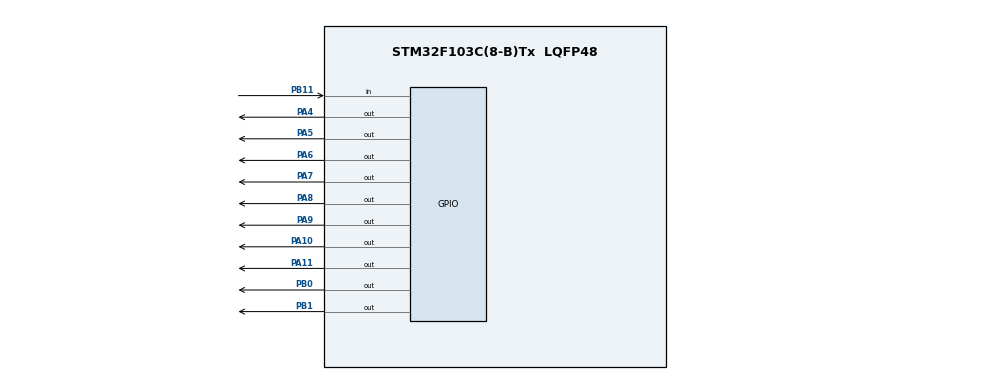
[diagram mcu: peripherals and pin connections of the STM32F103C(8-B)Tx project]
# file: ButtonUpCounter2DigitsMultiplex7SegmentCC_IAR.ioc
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Mcu.Family=STM32F1
Mcu.Name=STM32F103C(8-B)Tx
Mcu.Package=LQFP48
NVIC.PriorityGroup=NVIC_PRIORITYGROUP_4
PA10.Signal=GPIO_Output
PA11.Signal=GPIO_Output
PA13.Mode=Serial_Wire
PA13.Signal=SYS_JTMS-SWDIO
PA14.Mode=Serial_Wire
PA14.Signal=SYS_JTCK-SWCLK
PA4.Signal=GPIO_Output
PA5.Signal=GPIO_Output
PA6.Signal=GPIO_Output
PA7.Signal=GPIO_Output
PA8.Signal=GPIO_Output
PA9.Signal=GPIO_Output
PB0.Signal=GPIO_Output
PB1.Signal=GPIO_Output
PB11.GPIO_PuPd=GPIO_PULLUP
PB11.Signal=GPIO_Input
PD0-OSC_IN.Mode=HSE-External-Oscillator
PD0-OSC_IN.Signal=RCC_OSC_IN
PD1-OSC_OUT.Mode=HSE-External-Oscillator
PD1-OSC_OUT.Signal=RCC_OSC_OUT
ProjectManager.HeapSize=0x200
ProjectManager.StackSize=0x400
ProjectManager.TargetToolchain=EWARM V8.32
RCC.APB1Freq_Value=8000000
RCC.APB2Freq_Value=8000000
RCC.SYSCLKSource=RCC_SYSCLKSOURCE_HSE
board=custom

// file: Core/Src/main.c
/* USER CODE BEGIN Header */
/**
  ******************************************************************************
  * @file           : main.c
  * @brief          : Main program body
  ******************************************************************************
  * @attention
  *
  * Copyright (c) 2023 STMicroelectronics.
  * All rights reserved.
  *
  * This software is licensed under terms that can be found in the LICENSE file
  * in the root directory of this software component.
  * If no LICENSE file comes with this software, it is provided AS-IS.
  *
  ******************************************************************************
  */
/* USER CODE END Header */
#include "main.h"

/* USER CODE BEGIN PV */

unsigned char digits[2] = {0};

/* USER CODE END PV */

void SystemClock_Config(void);
static void MX_GPIO_Init(void);

/* USER CODE BEGIN 0 */

void CalcDigits(unsigned char j)
{
  unsigned char n = 0;
  for (n=0; n<2; n++)
  {
    digits[n] = j%10;
    j = j/10;
  }
}

/* USER CODE END 0 */

int main(void)
{
  /* USER CODE BEGIN 1 */

  unsigned char SevenSegmentCC[10] = {0x3F, 0x06, 0x5B, 0x4F, 0x66, 0x6D, 0x7D, 0x07, 0x7F, 0x6F};
  unsigned char i = 0;
  unsigned int delay_cnt = 0;
  unsigned char digitIdx = 0;

  /* USER CODE END 1 */

  /* MCU Configuration--------------------------------------------------------*/

  /* Reset of all peripherals, Initializes the Flash interface and the Systick. */
  HAL_Init();

  /* Configure the system clock */
  SystemClock_Config();

  /* Initialize all configured peripherals */
  MX_GPIO_Init();

  /* Infinite loop */
  /* USER CODE BEGIN WHILE */
  while (1)
  {
    //  CC 7segment, COM pin: Enable = 0, Disable = 1
    HAL_GPIO_WritePin(GPIOB, 0x03, GPIO_PIN_SET);
    HAL_GPIO_WritePin(GPIOB, 1<<digitIdx, GPIO_PIN_RESET);

    //  CC 7segment, a,b,c,d,e,f,g,h pins: Enable = 1, Disable = 0
    HAL_GPIO_WritePin(GPIOA, 0xFF<<4, GPIO_PIN_RESET);
    HAL_GPIO_WritePin(GPIOA, SevenSegmentCC[digits[digitIdx]]<<4, GPIO_PIN_SET);

    digitIdx++;
    digitIdx = (digitIdx == 2) ? 0 : digitIdx;

    HAL_Delay(8); // Frame Rate = 1000ms / (2*8ms) = 62.5

    if(HAL_GPIO_ReadPin(GPIOB, GPIO_PIN_11) == 0)
    {
      delay_cnt++;
      if(delay_cnt >= 25) // 200ms: 200ms / 8ms = 25
      {
        delay_cnt = 0;
        i++;
        i = (i == 100) ? 0 : i;

        CalcDigits(i);

      }
    }
    else
    {
      delay_cnt = 0;
    }

    /* USER CODE END WHILE */

  }
}

void SystemClock_Config(void)
{
  RCC_OscInitTypeDef RCC_OscInitStruct = {0};
  RCC_ClkInitTypeDef RCC_ClkInitStruct = {0};

  /** Initializes the RCC Oscillators according to the specified parameters
  * in the RCC_OscInitTypeDef structure.
  */
  RCC_OscInitStruct.OscillatorType = RCC_OSCILLATORTYPE_HSE;
  RCC_OscInitStruct.HSEState = RCC_HSE_ON;
  RCC_OscInitStruct.PLL.PLLState = RCC_PLL_NONE;
  if (HAL_RCC_OscConfig(&RCC_OscInitStruct) != HAL_OK)
  {
    Error_Handler();
  }

  /** Initializes the CPU, AHB and APB buses clocks
  */
  RCC_ClkInitStruct.ClockType = RCC_CLOCKTYPE_HCLK|RCC_CLOCKTYPE_SYSCLK
                              |RCC_CLOCKTYPE_PCLK1|RCC_CLOCKTYPE_PCLK2;
  RCC_ClkInitStruct.SYSCLKSource = RCC_SYSCLKSOURCE_HSE;
  RCC_ClkInitStruct.AHBCLKDivider = RCC_SYSCLK_DIV1;
  RCC_ClkInitStruct.APB1CLKDivider = RCC_HCLK_DIV1;
  RCC_ClkInitStruct.APB2CLKDivider = RCC_HCLK_DIV1;

  if (HAL_RCC_ClockConfig(&RCC_ClkInitStruct, FLASH_LATENCY_0) != HAL_OK)
  {
    Error_Handler();
  }
}

static void MX_GPIO_Init(void)
{
  GPIO_InitTypeDef GPIO_InitStruct = {0};

  /* GPIO Ports Clock Enable */
  __HAL_RCC_GPIOD_CLK_ENABLE();
  __HAL_RCC_GPIOA_CLK_ENABLE();
  __HAL_RCC_GPIOB_CLK_ENABLE();

  /*Configure GPIO pin Output Level */
  HAL_GPIO_WritePin(GPIOA, GPIO_PIN_4|GPIO_PIN_5|GPIO_PIN_6|GPIO_PIN_7
                          |GPIO_PIN_8|GPIO_PIN_9|GPIO_PIN_10|GPIO_PIN_11, GPIO_PIN_RESET);

  /*Configure GPIO pin Output Level */
  HAL_GPIO_WritePin(GPIOB, GPIO_PIN_0|GPIO_PIN_1, GPIO_PIN_RESET);

  /*Configure GPIO pins : PA4 PA5 PA6 PA7
                           PA8 PA9 PA10 PA11 */
  GPIO_InitStruct.Pin = GPIO_PIN_4|GPIO_PIN_5|GPIO_PIN_6|GPIO_PIN_7
                          |GPIO_PIN_8|GPIO_PIN_9|GPIO_PIN_10|GPIO_PIN_11;
  GPIO_InitStruct.Mode = GPIO_MODE_OUTPUT_PP;
  GPIO_InitStruct.Pull = GPIO_NOPULL;
  GPIO_InitStruct.Speed = GPIO_SPEED_FREQ_LOW;
  HAL_GPIO_Init(GPIOA, &GPIO_InitStruct);

  /*Configure GPIO pins : PB0 PB1 */
  GPIO_InitStruct.Pin = GPIO_PIN_0|GPIO_PIN_1;
  GPIO_InitStruct.Mode = GPIO_MODE_OUTPUT_PP;
  GPIO_InitStruct.Pull = GPIO_NOPULL;
  GPIO_InitStruct.Speed = GPIO_SPEED_FREQ_LOW;
  HAL_GPIO_Init(GPIOB, &GPIO_InitStruct);

  /*Configure GPIO pin : PB11 */
  GPIO_InitStruct.Pin = GPIO_PIN_11;
  GPIO_InitStruct.Mode = GPIO_MODE_INPUT;
  GPIO_InitStruct.Pull = GPIO_PULLUP;
  HAL_GPIO_Init(GPIOB, &GPIO_InitStruct);

}

void Error_Handler(void)
{
  __disable_irq();
  while (1)
  {
  }
}
